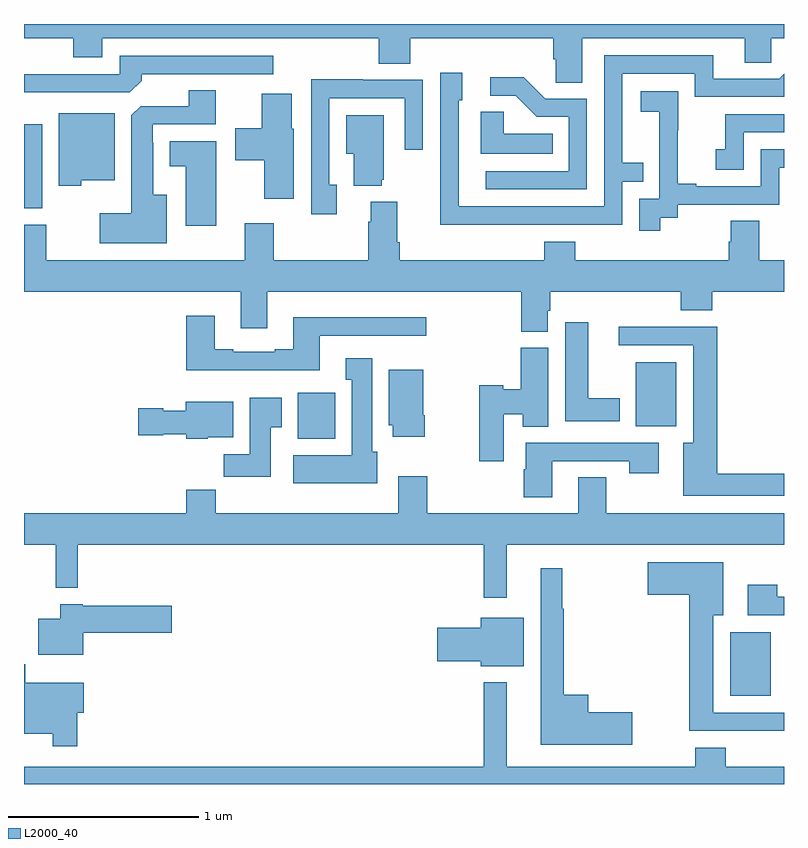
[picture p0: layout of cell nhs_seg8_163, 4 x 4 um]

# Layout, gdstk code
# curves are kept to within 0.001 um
import gdstk
lib = gdstk.Library(unit=1e-6, precision=1e-09)
def R(c, l, rs):  # rectangles x0, y0, x1, y1
    for r in rs: c.add(gdstk.rectangle(r[:2], r[2:], *l))
def P(c, l, *ps):  # polygons
    for p in ps: c.add(gdstk.Polygon(p, *l))
L2000_40 = (2000, 40)

nhs_seg8_163 = lib.new_cell('nhs_seg8_163')
R(nhs_seg8_163, L2000_40, [(124.718,1122.365,124.93,1122.7), (122.441,1123.718,122.638,1123.96), (124.22,1123.784,124.432,1124.119), (121,1124.929,121.096,1125.373)])
P(nhs_seg8_163, L2000_40, [(123.937,1125.824),(124.793,1125.824),(124.793,1125.697),(124.932,1125.697),(124.932,1125.824),(125,1125.824),(125,1125.9),(121,1125.9),(121,1125.824),(121.259,1125.824),(121.259,1125.725),(121.411,1125.725),(121.411,1125.824),(122.867,1125.824),(122.867,1125.691),(123.032,1125.691),(123.032,1125.824),(123.785,1125.824),(123.785,1125.715),(123.798,1125.715),(123.798,1125.592),(123.937,1125.592)],
  [(123.653,1124.844),(124.149,1124.844),(124.149,1125.069),(124.259,1125.069),(124.259,1125.17),(124.149,1125.17),(124.149,1125.639),(124.53,1125.639),(124.53,1125.516),(125,1125.516),(125,1125.638),(124.974,1125.612),(124.627,1125.612),(124.627,1125.735),(124.053,1125.735),(124.053,1124.94),(123.288,1124.94),(123.288,1125.498),(123.307,1125.498),(123.307,1125.643),(123.192,1125.643),(123.192,1125.149),(123.19,1125.149),(123.19,1124.843)],
  [(121.619,1125.602),(121.619,1125.636),(122.311,1125.636),(122.311,1125.732),(121.503,1125.732),(121.503,1125.636),(121,1125.636),(121,1125.54),(121.557,1125.54)],
  [(123.963,1125.507),(123.744,1125.507),(123.631,1125.62),(123.453,1125.62),(123.453,1125.522),(123.587,1125.522),(123.698,1125.411),(123.867,1125.411),(123.867,1125.126),(123.429,1125.126),(123.429,1125.03),(123.963,1125.03)],
  [(122.647,1125.054),(122.607,1125.054),(122.607,1125.51),(123.003,1125.51),(123.003,1125.237),(123.099,1125.237),(123.099,1125.606),(122.783,1125.606),(122.783,1125.608),(122.511,1125.608),(122.511,1124.898),(122.647,1124.898)],
  [(121.75,1125.001),(121.681,1125.001),(121.681,1125.275),(121.677,1125.275),(121.677,1125.372),(122.008,1125.372),(122.008,1125.551),(121.868,1125.551),(121.868,1125.468),(121.614,1125.468),(121.565,1125.419),(121.565,1124.905),(121.398,1124.905),(121.398,1124.747),(121.75,1124.747)],
  [(124.348,1124.881),(124.44,1124.881),(124.44,1124.949),(124.974,1124.949),(124.974,1125.144),(125,1125.144),(125,1125.24),(124.878,1125.24),(124.878,1125.045),(124.537,1125.045),(124.537,1125.058),(124.442,1125.058),(124.442,1125.341),(124.443,1125.341),(124.443,1125.547),(124.245,1125.547),(124.245,1125.437),(124.343,1125.437),(124.343,1125.209),(124.344,1125.209),(124.344,1124.979),(124.239,1124.979),(124.239,1124.811),(124.348,1124.811)],
  [(122.419,1125.348),(122.41,1125.348),(122.41,1125.532),(122.252,1125.532),(122.252,1125.352),(122.112,1125.352),(122.112,1125.183),(122.264,1125.183),(122.264,1124.979),(122.419,1124.979)],
  [(123.782,1125.322),(123.525,1125.322),(123.525,1125.437),(123.404,1125.437),(123.404,1125.218),(123.782,1125.218)],
  [(121.302,1125.077),(121.477,1125.077),(121.477,1125.43),(121.184,1125.43),(121.184,1125.05),(121.302,1125.05)],
  [(124.788,1125.33),(125,1125.33),(125,1125.426),(124.69,1125.426),(124.69,1125.241),(124.641,1125.241),(124.641,1125.132),(124.788,1125.132)],
  [(122.882,1125.081),(122.893,1125.081),(122.893,1125.421),(122.696,1125.421),(122.696,1125.218),(122.735,1125.218),(122.735,1125.05),(122.882,1125.05)],
  [(122.011,1125.283),(121.766,1125.283),(121.766,1125.152),(121.85,1125.152),(121.85,1124.838),(122.011,1124.838)],
  [(123.757,1124.391),(123.77,1124.391),(123.77,1124.492),(124.457,1124.492),(124.457,1124.393),(124.622,1124.393),(124.622,1124.492),(125,1124.492),(125,1124.656),(124.869,1124.656),(124.869,1124.864),(124.721,1124.864),(124.721,1124.754),(124.709,1124.754),(124.709,1124.656),(123.902,1124.656),(123.902,1124.755),(123.737,1124.755),(123.737,1124.656),(122.978,1124.656),(122.978,1124.752),(122.965,1124.752),(122.965,1124.965),(122.825,1124.965),(122.825,1124.858),(122.813,1124.858),(122.813,1124.656),(122.315,1124.656),(122.315,1124.851),(122.162,1124.851),(122.162,1124.656),(121.117,1124.656),(121.117,1124.844),(121,1124.844),(121,1124.492),(122.141,1124.492),(122.141,1124.298),(122.281,1124.298),(122.281,1124.492),(123.617,1124.492),(123.617,1124.281),(123.757,1124.281)],
  [(122.557,1124.259),(123.118,1124.259),(123.118,1124.356),(122.417,1124.356),(122.417,1124.188),(122.321,1124.188),(122.321,1124.175),(122.101,1124.175),(122.101,1124.188),(122.005,1124.188),(122.005,1124.365),(121.853,1124.365),(121.853,1124.078),(122.557,1124.078)],
  [(124.135,1123.93),(123.97,1123.93),(123.97,1124.329),(123.848,1124.329),(123.848,1123.808),(124.135,1123.808)],
  [(125,1123.532),(124.649,1123.532),(124.649,1124.306),(124.131,1124.306),(124.131,1124.208),(124.523,1124.208),(124.523,1123.696),(124.469,1123.696),(124.469,1123.416),(125,1123.416)],
  [(123.526,1123.847),(123.626,1123.847),(123.626,1123.78),(123.76,1123.78),(123.76,1124.196),(123.614,1124.196),(123.614,1123.977),(123.522,1123.977),(123.522,1124),(123.397,1124),(123.397,1123.599),(123.526,1123.599)],
  [(122.86,1123.65),(122.833,1123.65),(122.833,1124.14),(122.693,1124.14),(122.693,1124.027),(122.726,1124.027),(122.726,1123.63),(122.417,1123.63),(122.417,1123.484),(122.86,1123.484)],
  [(123.108,1123.84),(123.1,1123.84),(123.1,1124.08),(122.921,1124.08),(122.921,1123.788),(122.942,1123.788),(122.942,1123.728),(123.108,1123.728)],
  [(122.299,1123.777),(122.356,1123.777),(122.356,1123.933),(122.189,1123.933),(122.189,1123.636),(122.05,1123.636),(122.05,1123.518),(122.299,1123.518)],
  [(121.968,1123.724),(122.101,1123.724),(122.101,1123.912),(121.85,1123.912),(121.85,1123.864),(121.734,1123.864),(121.734,1123.877),(121.602,1123.877),(121.602,1123.735),(121.734,1123.735),(121.734,1123.742),(121.854,1123.742),(121.854,1123.718),(121.968,1123.718)],
  [(123.781,1123.599),(124.186,1123.599),(124.186,1123.536),(124.342,1123.536),(124.342,1123.695),(123.641,1123.695),(123.641,1123.557),(123.629,1123.557),(123.629,1123.41),(123.781,1123.41)],
  [(123.541,1123.16),(125,1123.16),(125,1123.324),(124.065,1123.324),(124.065,1123.514),(123.917,1123.514),(123.917,1123.324),(123.122,1123.324),(123.122,1123.519),(122.969,1123.519),(122.969,1123.324),(122.009,1123.324),(122.009,1123.448),(121.853,1123.448),(121.853,1123.324),(121,1123.324),(121,1123.16),(121.166,1123.16),(121.166,1122.932),(121.283,1122.932),(121.283,1123.16),(123.42,1123.16),(123.42,1122.879),(123.541,1122.879)],
  [(125,1122.276),(124.627,1122.276),(124.627,1122.788),(124.681,1122.788),(124.681,1123.066),(124.284,1123.066),(124.284,1122.896),(124.502,1122.896),(124.502,1122.179),(125,1122.179)],
  [(124.201,1122.278),(123.97,1122.278),(123.97,1122.37),(123.841,1122.37),(123.841,1122.823),(123.833,1122.823),(123.833,1123.036),(123.719,1123.036),(123.719,1122.107),(124.201,1122.107)],
  [(125,1122.885),(124.965,1122.885),(124.965,1122.949),(124.809,1122.949),(124.809,1122.789),(125,1122.789)],
  [(121.312,1122.695),(121.777,1122.695),(121.777,1122.837),(121.308,1122.837),(121.308,1122.847),(121.19,1122.847),(121.19,1122.769),(121.076,1122.769),(121.076,1122.581),(121.312,1122.581)],
  [(123.631,1122.775),(123.404,1122.775),(123.404,1122.723),(123.174,1122.723),(123.174,1122.545),(123.404,1122.545),(123.404,1122.521),(123.631,1122.521)],
  [(121.28,1122.275),(121.315,1122.275),(121.315,1122.433),(121.007,1122.433),(121.007,1122.529),(121,1122.529),(121,1122.164),(121.152,1122.164),(121.152,1122.099),(121.28,1122.099)],
  [(125,1121.992),(124.694,1121.992),(124.694,1122.091),(124.534,1122.091),(124.534,1121.992),(123.541,1121.992),(123.541,1122.436),(123.42,1122.436),(123.42,1121.992),(121,1121.992),(121,1121.9),(125,1121.9)])

lib.write_gds('nhs_seg8_163.gds')
